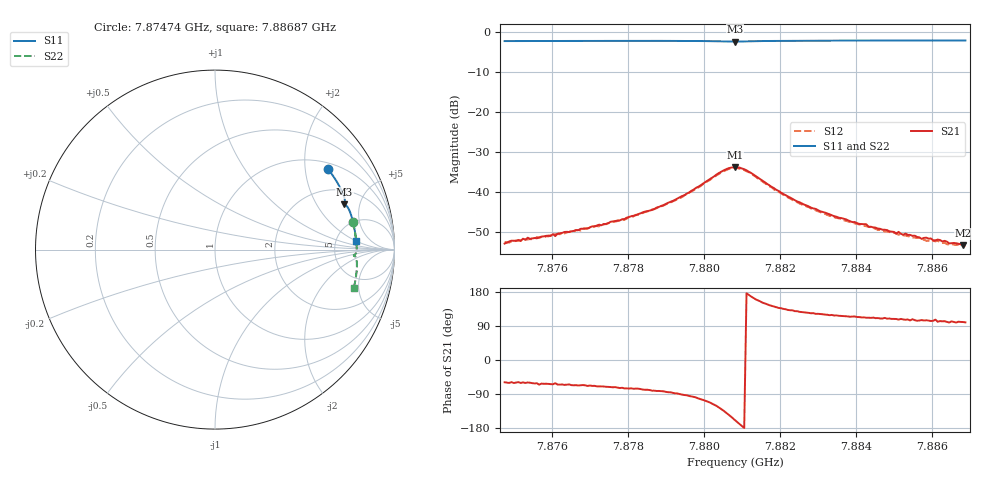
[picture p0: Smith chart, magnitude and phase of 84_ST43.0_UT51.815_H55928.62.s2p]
#  HZ  S  DB  R  50.00
! Rohde & Schwarz Vector Network Analyzer
! Rohde-Schwarz,ZNB20-2Port,1311601062101988,3.16
! Created: UTC 1/12/2023, 6:35:26 PM
! freq[Hz]  db:S11  ang:S11  db:S21  ang:S21  db:S12  ang:S12  db:S22  ang:S22
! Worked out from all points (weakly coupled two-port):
!   201 points, 7.87474 GHz to 7.88687 GHz, reference 50 ohm
!   highest |S21| = -33.72 dB at 7.8808 GHz (marker M1); lowest = -53.3 dB at 7.88681 GHz (marker M2)
!   lowest |S11| = -2.3 dB at 7.8808 GHz (marker M3), VSWR 7.44, Z = 148 + j178 ohm
!   |S11| at or under -10 dB: nowhere
!   |S22| runs from -2.2 to -1.9 dB; largest |S21 - S12| = 0.0014
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7.874739e9  -2.23 35.3  -52.85 -58.8  -52.46 -61.2  -2.15 11.2
7.874921e9  -2.23 34.8  -52.12 -58.5  -52.36 -62.7  -2.14 10.8
7.87577e9  -2.22 32.4  -51.04 -62.8  -51.37 -66.0  -2.12 8.8
7.876013e9  -2.21 31.8  -50.48 -64.0  -50.49 -66.3  -2.11 8.2
7.876074e9  -2.21 31.6  -50.97 -61.3  -50.54 -68.2  -2.11 8.0
7.876134e9  -2.21 31.5  -50.37 -64.8  -50.45 -67.1  -2.10 7.9
7.876802e9  -2.20 29.6  -49.14 -66.1  -49.07 -71.8  -2.09 6.3
7.877893e9  -2.18 26.6  -46.72 -75.0  -46.90 -77.5  -2.06 3.8
7.878803e9  -2.18 24.1  -43.68 -81.7  -43.79 -85.5  -2.06 1.6
7.87947e9  -2.19 22.2  -40.77 -92.4  -40.78 -95.6  -2.06 0.0
7.880441e9  -2.30 19.6  -34.89 -129.2  -35.09 -132.6  -2.17 -2.3
7.880805e9  -2.35 19.2  -33.72 -158.8  -33.95 -162.5  -2.23 -2.5
7.881169e9  -2.30 18.9  -34.91 171.8  -35.00 168.1  -2.18 -2.6
7.882078e9  -2.17 16.5  -40.46 134.9  -40.67 132.1  -2.02 -4.6
7.882867e9  -2.13 14.3  -44.06 123.6  -44.25 119.3  -1.98 -6.4
7.883898e9  -2.11 11.5  -47.48 114.4  -47.68 110.1  -1.96 -8.8
7.884868e9  -2.10 8.9  -49.78 109.5  -49.98 105.1  -1.94 -10.9
7.885718e9  -2.09 6.7  -51.66 105.3  -51.64 101.1  -1.93 -12.8
7.885839e9  -2.09 6.4  -51.37 104.8  -52.15 101.3  -1.93 -13.1
7.886142e9  -2.08 5.6  -51.84 100.9  -52.15 100.5  -1.93 -13.7
7.886809e9  -2.08 3.9  -53.28 100.2  -53.49 95.5  -1.92 -15.2
7.88687e9  -2.08 3.7  -52.81 99.3  -53.42 96.0  -1.92 -15.3
